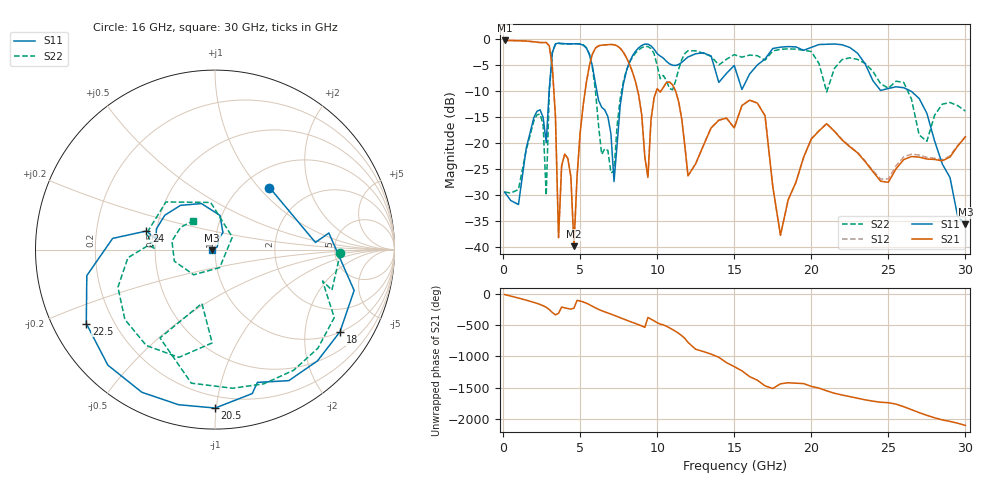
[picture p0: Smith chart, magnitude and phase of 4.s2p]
! Generated by EMerge - 2-port S-parameters
! File generated: 2026-03-21 19:04
# GHZ S RI R 50
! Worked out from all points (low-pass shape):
!   91 points, 100 MHz to 30 GHz, reference 50 ohm
!   highest |S21| = -0.30 dB at 100 MHz (marker M1); lowest = -39.9 dB at 4.6 GHz (marker M2)
!   |S21| within 3 dB of the highest: start of sweep to 3.094 GHz; 5.765 GHz to 7.947 GHz (2.182 GHz wide, 31.8 % of centre)
!   lowest |S11| = -35.7 dB at 30 GHz (marker M3), VSWR 1.03, Z = 48.4 - j0.411 ohm
!   |S11| at or under -10 dB: start of sweep to 2.992 GHz; 6.082 GHz to 7.74 GHz (1.658 GHz wide, 24 % of centre); 26.43 GHz to end of sweep
!   |S22| runs from -30.1 to -0.9 dB; largest |S21 - S12| = 0.0053
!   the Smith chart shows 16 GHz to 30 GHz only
!   S11 on the Smith chart (normalised r, x): 16 GHz: 1.30, +1.14; 18 GHz: 1.01, -3.03; 20.5 GHz: 0.12, -0.99; 22.5 GHz: 0.10, -0.26; 24 GHz: 0.44, +0.11; 30 GHz: 0.97, -0.01
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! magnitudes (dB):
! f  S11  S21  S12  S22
! 100 MHz  -29.5  -0.3  -0.3  -29.4
! 2.4 GHz  -13.6  -0.7  -0.7  -14.5
! 2.8 GHz  -19.9  -0.7  -0.7  -30.1
! 3 GHz  -9.6  -1.3  -1.3  -10.0
! 3.4 GHz  -0.9  -15.0  -15.0  -1.0
! 3.6 GHz  -0.8  -38.2  -38.2  -0.9
! 4 GHz  -0.9  -22.2  -22.1  -1.0
! 4.6 GHz  -0.9  -39.9  -39.9  -0.9
! 5.2 GHz  -1.2  -12.7  -12.7  -1.1
! 7.2 GHz  -27.4  -1.1  -1.1  -25.4
! 8 GHz  -6.2  -3.6  -3.6  -6.1
! 9.4 GHz  -1.0  -26.6  -26.6  -1.5
! 10.2 GHz  -3.3  -10.2  -10.2  -7.7
! 12 GHz  -3.5  -26.3  -26.4  -2.3
! 15.5 GHz  -9.7  -12.8  -12.8  -3.5
! 16 GHz  -6.7  -11.8  -11.8  -3.1
! 18 GHz  -1.6  -37.8  -37.8  -2.0
! 20.5 GHz  -1.1  -17.7  -17.7  -4.7
! 22.5 GHz  -1.6  -20.8  -20.6  -3.6
! 24 GHz  -8.0  -25.5  -25.3  -6.2
! 25.5 GHz  -9.2  -25.0  -24.4  -8.1
! 30 GHz  -35.7  -18.9  -18.8  -13.9
